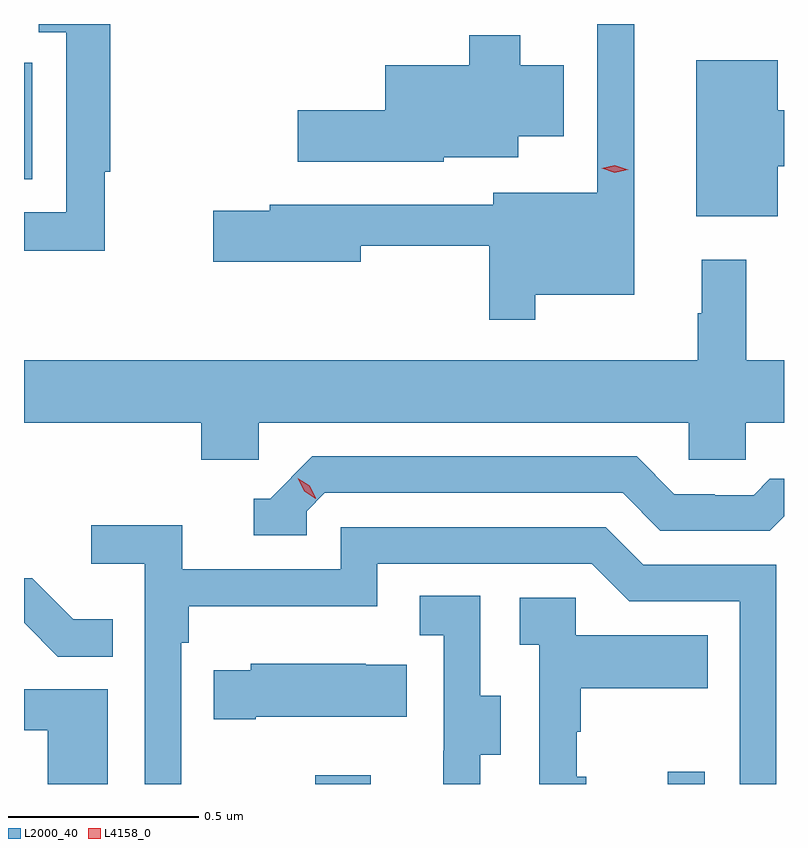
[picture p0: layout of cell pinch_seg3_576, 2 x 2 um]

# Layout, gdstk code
import gdstk
lib = gdstk.Library(unit=1e-6, precision=1e-09)
def R(c, l, rs):  # rectangles x0, y0, x1, y1
    for r in rs: c.add(gdstk.rectangle(r[:2], r[2:], *l))
def P(c, l, *ps):  # polygons
    for p in ps: c.add(gdstk.Polygon(p, *l))
L2000_40 = (2000, 40)
L4158_0 = (4158, 0)

pinch_seg3_576 = lib.new_cell('pinch_seg3_576')
R(pinch_seg3_576, L2000_40, [(1091.566,686.645,1091.713,686.668), (1092.494,686.645,1092.591,686.677), (1090.8,688.236,1090.822,688.543)])
P(pinch_seg3_576, L2000_40, [(1092.145,687.932),(1092.406,687.932),(1092.406,688.645),(1092.309,688.645),(1092.309,688.201),(1092.035,688.201),(1092.035,688.17),(1091.447,688.17),(1091.447,688.154),(1091.298,688.154),(1091.298,688.019),(1091.686,688.019),(1091.686,688.062),(1092.024,688.062),(1092.024,687.867),(1092.145,687.867)],
  [(1091.012,688.256),(1091.027,688.256),(1091.027,688.645),(1090.839,688.645),(1090.839,688.623),(1090.911,688.623),(1090.911,688.149),(1090.8,688.149),(1090.8,688.048),(1091.012,688.048)],
  [(1091.904,688.295),(1092.1,688.295),(1092.1,688.349),(1092.22,688.349),(1092.22,688.537),(1092.106,688.537),(1092.106,688.615),(1091.972,688.615),(1091.972,688.537),(1091.75,688.537),(1091.75,688.418),(1091.52,688.418),(1091.52,688.283),(1091.904,688.283)],
  [(1092.784,688.271),(1092.8,688.271),(1092.8,688.418),(1092.784,688.418),(1092.784,688.549),(1092.569,688.549),(1092.569,688.139),(1092.784,688.139)],
  [(1091.418,687.596),(1092.549,687.596),(1092.549,687.498),(1092.699,687.498),(1092.699,687.596),(1092.8,687.596),(1092.8,687.76),(1092.701,687.76),(1092.701,688.024),(1092.584,688.024),(1092.584,687.884),(1092.573,687.884),(1092.573,687.76),(1090.8,687.76),(1090.8,687.596),(1091.267,687.596),(1091.267,687.498),(1091.418,687.498)],
  [(1091.544,687.363),(1091.592,687.411),(1092.375,687.411),(1092.474,687.312),(1092.763,687.312),(1092.8,687.349),(1092.8,687.448),(1092.763,687.448),(1092.721,687.405),(1092.618,687.405),(1092.618,687.408),(1092.511,687.408),(1092.412,687.507),(1091.559,687.507),(1091.448,687.396),(1091.405,687.396),(1091.405,687.3),(1091.544,687.3)],
  [(1091.214,687.017),(1091.234,687.017),(1091.234,687.113),(1091.73,687.113),(1091.73,687.225),(1092.294,687.225),(1092.393,687.126),(1092.684,687.126),(1092.684,686.645),(1092.78,686.645),(1092.78,687.222),(1092.43,687.222),(1092.331,687.321),(1091.634,687.321),(1091.634,687.21),(1091.216,687.21),(1091.216,687.326),(1090.977,687.326),(1090.977,687.224),(1091.118,687.224),(1091.118,686.645),(1091.214,686.645)],
  [(1091.033,687.079),(1090.929,687.079),(1090.822,687.186),(1090.8,687.186),(1090.8,687.069),(1090.889,686.98),(1091.033,686.98)],
  [(1092.001,686.722),(1092.055,686.722),(1092.055,686.877),(1092,686.877),(1092,687.14),(1091.841,687.14),(1091.841,687.037),(1091.904,687.037),(1091.904,686.733),(1091.903,686.733),(1091.903,686.645),(1092.001,686.645)],
  [(1092.28,686.664),(1092.255,686.664),(1092.255,686.783),(1092.265,686.783),(1092.265,686.897),(1092.599,686.897),(1092.599,687.037),(1092.252,687.037),(1092.252,687.135),(1092.105,687.135),(1092.105,687.011),(1092.156,687.011),(1092.156,686.645),(1092.28,686.645)],
  [(1091.41,686.822),(1091.807,686.822),(1091.807,686.959),(1091.699,686.959),(1091.699,686.962),(1091.397,686.962),(1091.397,686.944),(1091.299,686.944),(1091.299,686.815),(1091.41,686.815)],
  [(1091.02,686.895),(1090.8,686.895),(1090.8,686.787),(1090.862,686.787),(1090.862,686.645),(1091.02,686.645)])
P(pinch_seg3_576, L4158_0, [(1092.354,688.253),(1092.32,688.265),(1092.319,688.265),(1092.32,688.266),(1092.355,688.273),(1092.39,688.262),(1092.39,688.261),(1092.39,688.261)],
  [(1091.568,687.396),(1091.537,687.416),(1091.521,687.449),(1091.521,687.449),(1091.521,687.449),(1091.552,687.43),(1091.568,687.397),(1091.568,687.396)])

lib.write_gds('pinch_seg3_576.gds')
